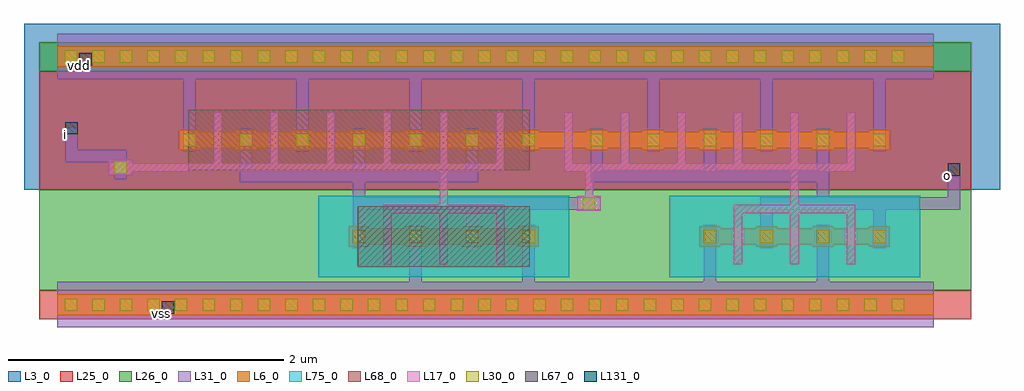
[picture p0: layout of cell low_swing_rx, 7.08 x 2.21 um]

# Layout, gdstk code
from math import pi, radians
import gdstk
lib = gdstk.Library(unit=1e-6, precision=1e-09)
def R(c, l, rs):  # rectangles x0, y0, x1, y1
    for r in rs: c.add(gdstk.rectangle(r[:2], r[2:], *l))
def A(c, l, x, y, w, h, nx, ny, dx, dy):  # array of equal rectangles
    R(c, l, [(x+i*dx, y+j*dy, x+i*dx+w, y+j*dy+h) for i in range(nx) for j in range(ny)])
L3_0 = (3, 0)
L6_0 = (6, 0)
L17_0 = (17, 0)
L25_0 = (25, 0)
L26_0 = (26, 0)
L30_0 = (30, 0)
L31_0 = (31, 0)
L67_0 = (67, 0)
L68_0 = (68, 0)
L75_0 = (75, 0)
L131_0 = (131, 0)

pch_hvt_cdns_73362274782 = lib.new_cell('pch_hvt_CDNS_733622747820')
R(pch_hvt_cdns_73362274782, L3_0, [(-0.47,-0.235,2.58,0.355)])
A(pch_hvt_cdns_73362274782, L6_0, -0.25, -0.015, 0.15, 0.15, 7, 1, 0.41, 0)
R(pch_hvt_cdns_73362274782, L6_0, [(-0.25,0,0,0.12), (0,0,0.06,0.12), (0.06,0,2.11,0.12), (2.11,0,2.36,0.12)])
A(pch_hvt_cdns_73362274782, L17_0, 0, -0.14, 0.06, 0.14, 6, 2, 0.41, 0.26)
A(pch_hvt_cdns_73362274782, L17_0, 0, 0, 0.06, 0.12, 6, 1, 0.41, 0)
A(pch_hvt_cdns_73362274782, L30_0, -0.22, 0.015, 0.09, 0.09, 7, 1, 0.41, 0)
A(pch_hvt_cdns_73362274782, L31_0, -0.22, -0.025, 0.09, 0.17, 7, 1, 0.41, 0)
R(pch_hvt_cdns_73362274782, L68_0, [(-0.185,-0.16,2.295,0.28)])
pch_hvt_cdns_73362274782.add(gdstk.Label('& SerialNumber 000000', (0,0), layer=63, texttype=63))
pch_hvt_cdns_73362274782.add(gdstk.Label('& Distributor TSMC', (0,0), layer=63, texttype=63))
pch_hvt_cdns_73362274782.add(gdstk.Label('& Metric 1', (0,0), layer=63, texttype=63))
pch_hvt_cdns_73362274782.add(gdstk.Label('& PDK TechNode "CRN65LP"', (0,0), layer=63, texttype=63))
pch_hvt_cdns_73362274782.add(gdstk.Label('& Product    tsmcN65_PDK', (0,0), layer=63, texttype=63))
pch_hvt_cdns_73362274782.add(gdstk.Label('& Vendor     Taiwan Semiconductor manufacturing Corp.', (0,0), layer=63, texttype=63))
pch_hvt_cdns_73362274782.add(gdstk.Label('[@instanceName]', (0.03,0.06), layer=127, texttype=0))
pch_hvt_cdns_73362274782.add(gdstk.Label('pch_hvt\n0.72/0.06\n', (0,0), layer=127, texttype=0))
pch_hvt_cdns_73362274782.add(gdstk.Label('D', (0.235,0.06), layer=127, texttype=0))
pch_hvt_cdns_73362274782.add(gdstk.Label('S', (0.645,0.06), layer=127, texttype=0))
pch_hvt_cdns_73362274782.add(gdstk.Label('D', (1.055,0.06), layer=127, texttype=0))
pch_hvt_cdns_73362274782.add(gdstk.Label('S', (1.465,0.06), layer=127, texttype=0))
pch_hvt_cdns_73362274782.add(gdstk.Label('D', (1.875,0.06), layer=127, texttype=0))
pch_hvt_cdns_73362274782.add(gdstk.Label('S', (2.285,0.06), layer=127, texttype=0))
pch_hvt_cdns_73362274782.add(gdstk.Label('S', (-0.175,0.06), layer=127, texttype=0))

nch_cdns_733622747821 = lib.new_cell('nch_CDNS_733622747821')
A(nch_cdns_733622747821, L6_0, -0.25, -0.015, 0.15, 0.15, 4, 1, 0.41, 0)
R(nch_cdns_733622747821, L6_0, [(-0.25,0,0,0.12), (0,0,0.06,0.12), (0.06,0,0.88,0.12), (0.88,0,1.13,0.12)])
A(nch_cdns_733622747821, L17_0, 0, -0.14, 0.06, 0.14, 3, 2, 0.41, 0.26)
A(nch_cdns_733622747821, L17_0, 0, 0, 0.06, 0.12, 3, 1, 0.41, 0)
A(nch_cdns_733622747821, L30_0, -0.22, 0.015, 0.09, 0.09, 4, 1, 0.41, 0)
A(nch_cdns_733622747821, L31_0, -0.22, -0.025, 0.09, 0.17, 4, 1, 0.41, 0)
R(nch_cdns_733622747821, L75_0, [(-0.47,-0.235,1.35,0.355)])
nch_cdns_733622747821.add(gdstk.Label('& SerialNumber 000000', (0,0), layer=63, texttype=63))
nch_cdns_733622747821.add(gdstk.Label('& Distributor TSMC', (0,0), layer=63, texttype=63))
nch_cdns_733622747821.add(gdstk.Label('& Metric 1', (0,0), layer=63, texttype=63))
nch_cdns_733622747821.add(gdstk.Label('& PDK TechNode "CRN65LP"', (0,0), layer=63, texttype=63))
nch_cdns_733622747821.add(gdstk.Label('& Product    tsmcN65_PDK', (0,0), layer=63, texttype=63))
nch_cdns_733622747821.add(gdstk.Label('& Vendor     Taiwan Semiconductor manufacturing Corp.', (0,0), layer=63, texttype=63))
nch_cdns_733622747821.add(gdstk.Label('[@instanceName]', (0.03,0.06), layer=127, texttype=0))
nch_cdns_733622747821.add(gdstk.Label('nch\n0.36/0.06\n', (0,0), layer=127, texttype=0))
nch_cdns_733622747821.add(gdstk.Label('D', (0.235,0.06), layer=127, texttype=0))
nch_cdns_733622747821.add(gdstk.Label('S', (0.645,0.06), layer=127, texttype=0))
nch_cdns_733622747821.add(gdstk.Label('D', (1.055,0.06), layer=127, texttype=0))
nch_cdns_733622747821.add(gdstk.Label('S', (-0.175,0.06), layer=127, texttype=0))

pch_cdns_733622747822 = lib.new_cell('pch_CDNS_733622747822')
R(pch_cdns_733622747822, L3_0, [(-0.405,-0.235,2.58,0.355)])
A(pch_cdns_733622747822, L6_0, 0.16, -0.015, 0.15, 0.15, 6, 1, 0.41, 0)
R(pch_cdns_733622747822, L6_0, [(-0.185,0,0,0.12), (0,0,0.06,0.12), (0.06,0,2.11,0.12), (2.11,0,2.36,0.12)])
A(pch_cdns_733622747822, L17_0, 0, -0.14, 0.06, 0.14, 6, 2, 0.41, 0.26)
A(pch_cdns_733622747822, L17_0, 0, 0, 0.06, 0.12, 6, 1, 0.41, 0)
A(pch_cdns_733622747822, L30_0, 0.19, 0.015, 0.09, 0.09, 6, 1, 0.41, 0)
A(pch_cdns_733622747822, L31_0, 0.19, -0.025, 0.09, 0.17, 6, 1, 0.41, 0)
pch_cdns_733622747822.add(gdstk.Label('& SerialNumber 000000', (0,0), layer=63, texttype=63))
pch_cdns_733622747822.add(gdstk.Label('& Distributor TSMC', (0,0), layer=63, texttype=63))
pch_cdns_733622747822.add(gdstk.Label('& Metric 1', (0,0), layer=63, texttype=63))
pch_cdns_733622747822.add(gdstk.Label('& PDK TechNode "CRN65LP"', (0,0), layer=63, texttype=63))
pch_cdns_733622747822.add(gdstk.Label('& Product    tsmcN65_PDK', (0,0), layer=63, texttype=63))
pch_cdns_733622747822.add(gdstk.Label('& Vendor     Taiwan Semiconductor manufacturing Corp.', (0,0), layer=63, texttype=63))
pch_cdns_733622747822.add(gdstk.Label('[@instanceName]', (0.03,0.06), layer=127, texttype=0))
pch_cdns_733622747822.add(gdstk.Label('pch\n0.72/0.06\n', (0,0), layer=127, texttype=0))
pch_cdns_733622747822.add(gdstk.Label('D', (0.235,0.06), layer=127, texttype=0))
pch_cdns_733622747822.add(gdstk.Label('S', (0.645,0.06), layer=127, texttype=0))
pch_cdns_733622747822.add(gdstk.Label('D', (1.055,0.06), layer=127, texttype=0))
pch_cdns_733622747822.add(gdstk.Label('S', (1.465,0.06), layer=127, texttype=0))
pch_cdns_733622747822.add(gdstk.Label('D', (1.875,0.06), layer=127, texttype=0))
pch_cdns_733622747822.add(gdstk.Label('S', (2.285,0.06), layer=127, texttype=0))

nch_hvt_cdns_73362274782 = lib.new_cell('nch_hvt_CDNS_733622747823')
A(nch_hvt_cdns_73362274782, L6_0, -0.25, -0.015, 0.15, 0.15, 4, 1, 0.41, 0)
R(nch_hvt_cdns_73362274782, L6_0, [(-0.25,0,0,0.12), (0,0,0.06,0.12), (0.06,0,0.88,0.12), (0.88,0,1.13,0.12)])
A(nch_hvt_cdns_73362274782, L17_0, 0, -0.14, 0.06, 0.14, 3, 2, 0.41, 0.26)
A(nch_hvt_cdns_73362274782, L17_0, 0, 0, 0.06, 0.12, 3, 1, 0.41, 0)
A(nch_hvt_cdns_73362274782, L30_0, -0.22, 0.015, 0.09, 0.09, 4, 1, 0.41, 0)
A(nch_hvt_cdns_73362274782, L31_0, -0.22, -0.025, 0.09, 0.17, 4, 1, 0.41, 0)
R(nch_hvt_cdns_73362274782, L67_0, [(-0.185,-0.16,1.065,0.28)])
R(nch_hvt_cdns_73362274782, L75_0, [(-0.47,-0.235,1.35,0.355)])
nch_hvt_cdns_73362274782.add(gdstk.Label('& SerialNumber 000000', (0,0), layer=63, texttype=63))
nch_hvt_cdns_73362274782.add(gdstk.Label('& Distributor TSMC', (0,0), layer=63, texttype=63))
nch_hvt_cdns_73362274782.add(gdstk.Label('& Metric 1', (0,0), layer=63, texttype=63))
nch_hvt_cdns_73362274782.add(gdstk.Label('& PDK TechNode "CRN65LP"', (0,0), layer=63, texttype=63))
nch_hvt_cdns_73362274782.add(gdstk.Label('& Product    tsmcN65_PDK', (0,0), layer=63, texttype=63))
nch_hvt_cdns_73362274782.add(gdstk.Label('& Vendor     Taiwan Semiconductor manufacturing Corp.', (0,0), layer=63, texttype=63))
nch_hvt_cdns_73362274782.add(gdstk.Label('[@instanceName]', (0.03,0.06), layer=127, texttype=0))
nch_hvt_cdns_73362274782.add(gdstk.Label('nch_hvt\n0.36/0.06\n', (0,0), layer=127, texttype=0))
nch_hvt_cdns_73362274782.add(gdstk.Label('D', (0.235,0.06), layer=127, texttype=0))
nch_hvt_cdns_73362274782.add(gdstk.Label('S', (0.645,0.06), layer=127, texttype=0))
nch_hvt_cdns_73362274782.add(gdstk.Label('D', (1.055,0.06), layer=127, texttype=0))
nch_hvt_cdns_73362274782.add(gdstk.Label('S', (-0.175,0.06), layer=127, texttype=0))

m1_po_cdns_733622747820 = lib.new_cell('M1_PO_CDNS_733622747820')
R(m1_po_cdns_733622747820, L17_0, [(-0.085,-0.055,0.085,0.055)])
R(m1_po_cdns_733622747820, L30_0, [(-0.045,-0.045,0.045,0.045)])
R(m1_po_cdns_733622747820, L31_0, [(-0.045,-0.085,0.045,0.085)])

m1_po_cdns_733622747821 = lib.new_cell('M1_PO_CDNS_733622747821')
R(m1_po_cdns_733622747821, L17_0, [(-0.085,-0.055,0.085,0.055)])
R(m1_po_cdns_733622747821, L30_0, [(-0.045,-0.045,0.045,0.045)])
R(m1_po_cdns_733622747821, L31_0, [(-0.085,-0.045,0.085,0.045)])

low_swing_rx = lib.new_cell('low_swing_rx')
R(low_swing_rx, L3_0, [(0.4,1.3,7.48,2.505)])
R(low_swing_rx, L6_0, [(0.64,0.39,7,0.54), (0.64,2.19,7,2.34)])
R(low_swing_rx, L25_0, [(0.51,0.36,7.27,0.57), (0.51,1.3,7.27,2.16)])
R(low_swing_rx, L26_0, [(0.51,0.57,7.27,1.3), (0.51,2.16,7.27,2.37)])
A(low_swing_rx, L30_0, 0.695, 0.42, 0.09, 0.09, 14, 2, 0.2, 1.8)
A(low_swing_rx, L30_0, 3.695, 0.42, 0.09, 0.09, 16, 2, 0.2, 1.8)
R(low_swing_rx, L30_0, [(3.295,0.42,3.385,0.51), (3.495,0.42,3.585,0.51), (3.495,0.42,3.585,0.51), (3.695,0.42,3.785,0.51), (3.295,2.22,3.385,2.31), (3.495,2.22,3.585,2.31), (3.495,2.22,3.585,2.31), (3.695,2.22,3.785,2.31)])
R(low_swing_rx, L31_0, [(0.64,0.3,7,0.63), (0.64,2.1,7,2.43)])
R(low_swing_rx, L131_0, [(1.4,0.4,1.49,0.49), (7.1,1.4,7.19,1.49), (0.7,1.7,0.79,1.79), (0.8,2.2,0.89,2.29)])
low_swing_rx.add(gdstk.FlexPath([(4.5,1.46),(4.5,1.2)], 0.06, ends=(0.03, 0), simple_path=True, layer=17, datatype=0))  # L17_0
low_swing_rx.add(gdstk.FlexPath([(4.5,1.46),(4.73,1.46)], 0.06, ends=(0.03, 0), simple_path=True, layer=17, datatype=0))  # L17_0
low_swing_rx.add(gdstk.FlexPath([(3.855,1.16),(3.475,1.16)], 0.06, ends=(0.03, 0), simple_path=True, layer=17, datatype=0))  # L17_0
low_swing_rx.add(gdstk.FlexPath([(3.035,1.16),(3.415,1.16)], 0.06, ends=(0.03, 0), simple_path=True, layer=17, datatype=0))  # L17_0
low_swing_rx.add(gdstk.FlexPath([(1.1,1.46),(3.005,1.46)], 0.06, ends="flush", simple_path=True, layer=17, datatype=0))  # L17_0
low_swing_rx.add(gdstk.FlexPath([(3.035,1.46),(3.415,1.46)], 0.06, ends=(0.03, 0), simple_path=True, layer=17, datatype=0))  # L17_0
low_swing_rx.add(gdstk.FlexPath([(3.855,1.46),(3.475,1.46)], 0.06, ends=(0.03, 0), simple_path=True, layer=17, datatype=0))  # L17_0
low_swing_rx.add(gdstk.FlexPath([(4.35,1.46),(4.5,1.46)], 0.06, ends="extended", simple_path=True, layer=17, datatype=0))  # L17_0
low_swing_rx.add(gdstk.FlexPath([(3.445,1.46),(3.445,1.16)], 0.06, ends="flush", simple_path=True, layer=17, datatype=0))  # L17_0
low_swing_rx.add(gdstk.FlexPath([(5.99,1.46),(5.99,1.16)], 0.06, ends="flush", simple_path=True, layer=17, datatype=0))  # L17_0
low_swing_rx.add(gdstk.FlexPath([(5.58,1.46),(5.96,1.46)], 0.06, ends=(0.03, 0), simple_path=True, layer=17, datatype=0))  # L17_0
low_swing_rx.add(gdstk.FlexPath([(6.4,1.46),(6.02,1.46)], 0.06, ends=(0.03, 0), simple_path=True, layer=17, datatype=0))  # L17_0
low_swing_rx.add(gdstk.FlexPath([(5.58,1.16),(5.96,1.16)], 0.06, ends=(0.03, 0), simple_path=True, layer=17, datatype=0))  # L17_0
low_swing_rx.add(gdstk.FlexPath([(4.76,1.46),(5.14,1.46)], 0.06, ends=(0.03, 0), simple_path=True, layer=17, datatype=0))  # L17_0
low_swing_rx.add(gdstk.FlexPath([(5.17,1.46),(5.55,1.46)], 0.06, ends=(0.03, 0), simple_path=True, layer=17, datatype=0))  # L17_0
low_swing_rx.add(gdstk.FlexPath([(6.4,1.16),(6.02,1.16)], 0.06, ends=(0.03, 0), simple_path=True, layer=17, datatype=0))  # L17_0
low_swing_rx.add(gdstk.FlexPath([(0.745,1.545),(1.1,1.545)], 0.09, ends=(0, 0.045), simple_path=True, layer=31, datatype=0))  # L31_0
low_swing_rx.add(gdstk.FlexPath([(1.1,1.545),(1.1,1.46)], 0.09, ends=(0.045, 0), simple_path=True, layer=31, datatype=0))  # L31_0
low_swing_rx.add(gdstk.FlexPath([(0.745,1.5),(0.745,1.745)], 0.09, ends="flush", simple_path=True, layer=31, datatype=0))  # L31_0
low_swing_rx.add(gdstk.FlexPath([(7.145,1.4),(7.145,1.2)], 0.09, ends=(0, 0.045), simple_path=True, layer=31, datatype=0))  # L31_0
low_swing_rx.add(gdstk.FlexPath([(7.145,1.2),(6.605,1.2)], 0.09, ends="extended", simple_path=True, layer=31, datatype=0))  # L31_0
low_swing_rx.add(gdstk.FlexPath([(6.605,1.2),(6.195,1.2)], 0.09, ends="extended", simple_path=True, layer=31, datatype=0))  # L31_0
low_swing_rx.add(gdstk.FlexPath([(6.195,1.4),(6.195,1.2)], 0.09, ends="extended", simple_path=True, layer=31, datatype=0))  # L31_0
low_swing_rx.add(gdstk.FlexPath([(6.195,1.4),(5.375,1.4)], 0.09, ends="extended", simple_path=True, layer=31, datatype=0))  # L31_0
low_swing_rx.add(gdstk.FlexPath([(6.195,1.575),(6.195,1.4)], 0.09, ends=(0, 0.045), simple_path=True, layer=31, datatype=0))  # L31_0
low_swing_rx.add(gdstk.FlexPath([(5.375,1.66),(5.375,1.4)], 0.09, ends=(0, 0.045), simple_path=True, layer=31, datatype=0))  # L31_0
low_swing_rx.add(gdstk.FlexPath([(5.375,1.4),(4.555,1.4)], 0.09, ends="extended", simple_path=True, layer=31, datatype=0))  # L31_0
low_swing_rx.add(gdstk.FlexPath([(4.555,1.4),(4.555,1.575)], 0.09, ends=(0.045, 0), simple_path=True, layer=31, datatype=0))  # L31_0
low_swing_rx.add(gdstk.FlexPath([(6.605,1.045),(6.605,1.2)], 0.09, ends=(0, 0.045), simple_path=True, layer=31, datatype=0))  # L31_0
low_swing_rx.add(gdstk.FlexPath([(6.195,1.2),(5.785,1.2)], 0.09, ends="extended", simple_path=True, layer=31, datatype=0))  # L31_0
low_swing_rx.add(gdstk.FlexPath([(5.785,1.2),(5.785,1.045)], 0.09, ends=(0.045, 0), simple_path=True, layer=31, datatype=0))  # L31_0
low_swing_rx.add(gdstk.FlexPath([(4.5,1.2),(3.65,1.2)], 0.09, ends="flush", simple_path=True, layer=31, datatype=0))  # L31_0
low_swing_rx.add(gdstk.FlexPath([(3.65,1.4),(2.83,1.4)], 0.09, ends="extended", simple_path=True, layer=31, datatype=0))  # L31_0
low_swing_rx.add(gdstk.FlexPath([(3.65,1.575),(3.65,1.4)], 0.09, ends=(0, 0.045), simple_path=True, layer=31, datatype=0))  # L31_0
low_swing_rx.add(gdstk.FlexPath([(2.83,1.575),(2.83,1.4)], 0.09, ends=(0, 0.045), simple_path=True, layer=31, datatype=0))  # L31_0
low_swing_rx.add(gdstk.FlexPath([(2.01,1.4),(2.83,1.4)], 0.09, ends="extended", simple_path=True, layer=31, datatype=0))  # L31_0
low_swing_rx.add(gdstk.FlexPath([(2.01,1.575),(2.01,1.4)], 0.09, ends=(0, 0.045), simple_path=True, layer=31, datatype=0))  # L31_0
low_swing_rx.add(gdstk.FlexPath([(2.83,1.4),(2.83,1.2)], 0.09, ends="extended", simple_path=True, layer=31, datatype=0))  # L31_0
low_swing_rx.add(gdstk.FlexPath([(3.65,1.2),(2.83,1.2)], 0.09, ends="extended", simple_path=True, layer=31, datatype=0))  # L31_0
low_swing_rx.add(gdstk.FlexPath([(3.65,1.045),(3.65,1.2)], 0.09, ends=(0, 0.045), simple_path=True, layer=31, datatype=0))  # L31_0
low_swing_rx.add(gdstk.FlexPath([(2.83,1.2),(2.83,1.045)], 0.09, ends=(0.045, 0), simple_path=True, layer=31, datatype=0))  # L31_0
low_swing_rx.add(gdstk.FlexPath([(6.195,0.875),(6.195,0.63)], 0.09, ends="flush", simple_path=True, layer=31, datatype=0))  # L31_0
low_swing_rx.add(gdstk.FlexPath([(5.375,0.875),(5.375,0.63)], 0.09, ends="flush", simple_path=True, layer=31, datatype=0))  # L31_0
low_swing_rx.add(gdstk.FlexPath([(3.24,0.875),(3.24,0.63)], 0.09, ends="flush", simple_path=True, layer=31, datatype=0))  # L31_0
low_swing_rx.add(gdstk.FlexPath([(4.06,0.875),(4.06,0.63)], 0.09, ends="flush", simple_path=True, layer=31, datatype=0))  # L31_0
low_swing_rx.add(gdstk.FlexPath([(6.605,1.745),(6.605,2.1)], 0.09, ends="flush", simple_path=True, layer=31, datatype=0))  # L31_0
low_swing_rx.add(gdstk.FlexPath([(5.785,1.745),(5.785,2.1)], 0.09, ends="flush", simple_path=True, layer=31, datatype=0))  # L31_0
low_swing_rx.add(gdstk.FlexPath([(4.965,1.745),(4.965,2.1)], 0.09, ends="flush", simple_path=True, layer=31, datatype=0))  # L31_0
low_swing_rx.add(gdstk.FlexPath([(4.06,1.745),(4.06,2.1)], 0.09, ends="flush", simple_path=True, layer=31, datatype=0))  # L31_0
low_swing_rx.add(gdstk.FlexPath([(3.24,1.745),(3.24,2.1)], 0.09, ends="flush", simple_path=True, layer=31, datatype=0))  # L31_0
low_swing_rx.add(gdstk.FlexPath([(2.42,1.745),(2.42,2.1)], 0.09, ends="flush", simple_path=True, layer=31, datatype=0))  # L31_0
low_swing_rx.add(gdstk.FlexPath([(1.6,1.745),(1.6,2.1)], 0.09, ends="flush", simple_path=True, layer=31, datatype=0))  # L31_0
low_swing_rx.add(gdstk.Reference(pch_hvt_cdns_73362274782, (1.775,1.6)))
low_swing_rx.add(gdstk.Reference(nch_cdns_733622747821, (5.55,0.9)))
low_swing_rx.add(gdstk.Reference(pch_cdns_733622747822, (4.32,1.6)))
low_swing_rx.add(gdstk.Reference(nch_hvt_cdns_73362274782, (3.885,0.9), rotation=pi, x_reflection=True))
low_swing_rx.add(gdstk.Reference(m1_po_cdns_733622747820, (1.1,1.46)))
low_swing_rx.add(gdstk.Reference(m1_po_cdns_733622747821, (4.5,1.2)))
low_swing_rx.add(gdstk.Label('o', (7.1,1.4), layer=131, texttype=0))
low_swing_rx.add(gdstk.Label('vss', (1.4,0.4), layer=131, texttype=0))
low_swing_rx.add(gdstk.Label('vdd', (0.8,2.2), layer=131, texttype=0))
low_swing_rx.add(gdstk.Label('i', (0.7,1.7), layer=131, texttype=0))

lib.write_gds('low_swing_rx.gds')
